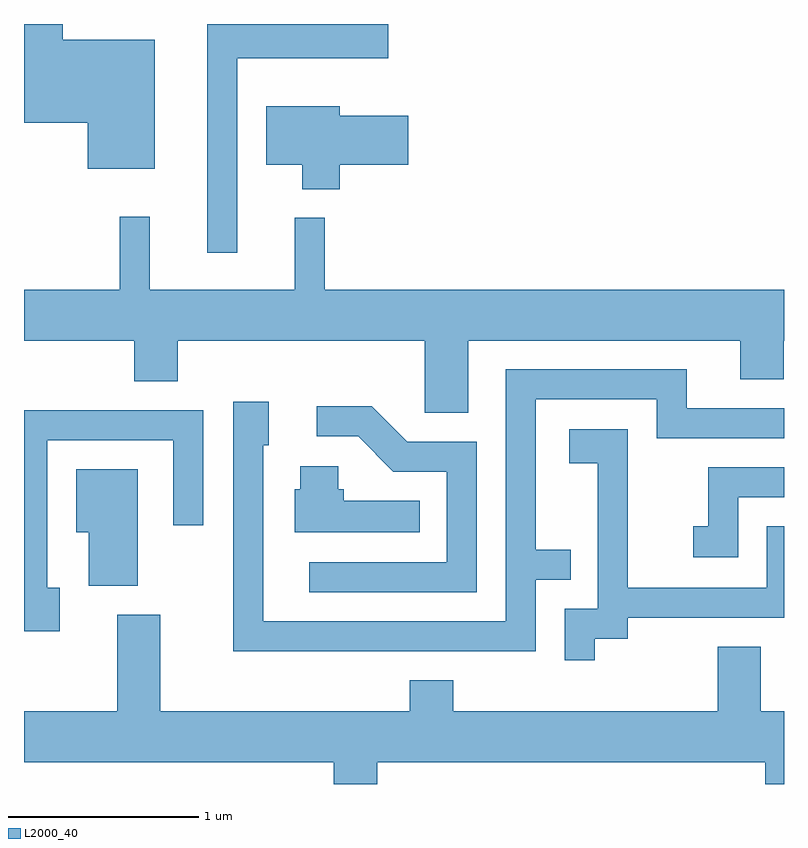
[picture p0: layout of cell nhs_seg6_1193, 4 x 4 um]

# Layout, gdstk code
import gdstk
lib = gdstk.Library(unit=1e-6, precision=1e-09)
def P(c, l, *ps):  # polygons
    for p in ps: c.add(gdstk.Polygon(p, *l))
L2000_40 = (2000, 40)

nhs_seg6_1193 = lib.new_cell('nhs_seg6_1193')
P(nhs_seg6_1193, L2000_40, [(222.299,1536.079),(221.814,1536.079),(221.814,1536.162),(221.611,1536.162),(221.611,1535.641),(221.946,1535.641),(221.946,1535.401),(222.299,1535.401)],
  [(222.734,1535.981),(223.529,1535.981),(223.529,1536.162),(222.576,1536.162),(222.576,1534.958),(222.734,1534.958)],
  [(223.274,1535.421),(223.634,1535.421),(223.634,1535.679),(223.274,1535.679),(223.274,1535.729),(222.886,1535.729),(222.886,1535.421),(223.076,1535.421),(223.076,1535.291),(223.274,1535.291)],
  [(223.949,1534.496),(225.381,1534.496),(225.381,1534.291),(225.609,1534.291),(225.609,1534.496),(225.611,1534.496),(225.611,1534.764),(223.194,1534.764),(223.194,1535.143),(223.036,1535.143),(223.036,1534.764),(222.274,1534.764),(222.274,1535.148),(222.116,1535.148),(222.116,1534.764),(221.611,1534.764),(221.611,1534.496),(222.191,1534.496),(222.191,1534.281),(222.419,1534.281),(222.419,1534.496),(223.721,1534.496),(223.721,1534.116),(223.949,1534.116)],
  [(224.304,1533.236),(224.488,1533.236),(224.488,1533.394),(224.304,1533.394),(224.304,1534.186),(224.941,1534.186),(224.941,1533.981),(225.611,1533.981),(225.611,1534.139),(225.099,1534.139),(225.099,1534.344),(224.146,1534.344),(224.146,1533.019),(222.869,1533.019),(222.869,1533.946),(222.899,1533.946),(222.899,1534.174),(222.711,1534.174),(222.711,1532.861),(224.304,1532.861)],
  [(223.994,1533.964),(223.627,1533.964),(223.442,1534.149),(223.153,1534.149),(223.153,1533.991),(223.369,1533.991),(223.554,1533.806),(223.836,1533.806),(223.836,1533.329),(223.113,1533.329),(223.113,1533.171),(223.994,1533.171)],
  [(221.799,1533.194),(221.734,1533.194),(221.734,1533.971),(222.396,1533.971),(222.396,1533.523),(222.554,1533.523),(222.554,1534.129),(221.611,1534.129),(221.611,1532.966),(221.799,1532.966)],
  [(224.614,1532.926),(224.789,1532.926),(224.789,1533.036),(225.611,1533.036),(225.611,1533.519),(225.521,1533.519),(225.521,1533.194),(224.789,1533.194),(224.789,1534.029),(224.481,1534.029),(224.481,1533.851),(224.631,1533.851),(224.631,1533.084),(224.456,1533.084),(224.456,1532.813),(224.614,1532.813)],
  [(223.693,1533.654),(223.294,1533.654),(223.294,1533.714),(223.264,1533.714),(223.264,1533.834),(223.066,1533.834),(223.066,1533.714),(223.036,1533.714),(223.036,1533.486),(223.693,1533.486)],
  [(225.369,1533.671),(225.611,1533.671),(225.611,1533.829),(225.211,1533.829),(225.211,1533.519),(225.133,1533.519),(225.133,1533.356),(225.369,1533.356)],
  [(222.209,1533.819),(221.886,1533.819),(221.886,1533.486),(221.951,1533.486),(221.951,1533.206),(222.209,1533.206)],
  [(223.469,1532.276),(225.511,1532.276),(225.511,1532.162),(225.611,1532.162),(225.611,1532.544),(225.489,1532.544),(225.489,1532.884),(225.261,1532.884),(225.261,1532.544),(223.869,1532.544),(223.869,1532.709),(223.641,1532.709),(223.641,1532.544),(222.329,1532.544),(222.329,1533.054),(222.101,1533.054),(222.101,1532.544),(221.611,1532.544),(221.611,1532.276),(223.241,1532.276),(223.241,1532.162),(223.469,1532.162)])

lib.write_gds('nhs_seg6_1193.gds')
